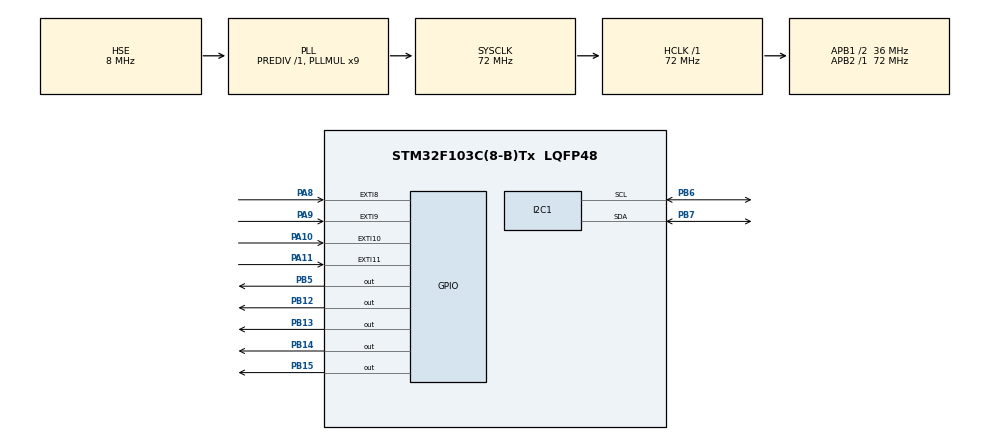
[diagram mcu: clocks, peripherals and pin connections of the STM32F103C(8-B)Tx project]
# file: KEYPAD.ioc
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Mcu.Family=STM32F1
Mcu.Name=STM32F103C(8-B)Tx
Mcu.Package=LQFP48
NVIC.EXTI15_10_IRQn=true\:0\:0\:false\:false\:true\:true\:true\:true
NVIC.EXTI9_5_IRQn=true\:0\:0\:false\:false\:true\:true\:true\:true
NVIC.PriorityGroup=NVIC_PRIORITYGROUP_4
PA10.Signal=GPXTI10
PA11.Signal=GPXTI11
PA13.Mode=Serial_Wire
PA13.Signal=SYS_JTMS-SWDIO
PA14.Mode=Serial_Wire
PA14.Signal=SYS_JTCK-SWCLK
PA8.Signal=GPXTI8
PA9.Signal=GPXTI9
PB12.Signal=GPIO_Output
PB13.Signal=GPIO_Output
PB14.Signal=GPIO_Output
PB15.Signal=GPIO_Output
PB5.GPIO_Speed=GPIO_SPEED_FREQ_HIGH
PB5.Signal=GPIO_Output
PB6.Mode=I2C
PB6.Signal=I2C1_SCL
PB7.Mode=I2C
PB7.Signal=I2C1_SDA
PD0-OSC_IN.Mode=HSE-External-Oscillator
PD0-OSC_IN.Signal=RCC_OSC_IN
PD1-OSC_OUT.Mode=HSE-External-Oscillator
PD1-OSC_OUT.Signal=RCC_OSC_OUT
ProjectManager.HeapSize=0x200
ProjectManager.StackSize=0x400
ProjectManager.TargetToolchain=STM32CubeIDE
RCC.AHBFreq_Value=72000000
RCC.APB1CLKDivider=RCC_HCLK_DIV2
RCC.APB1Freq_Value=36000000
RCC.APB1TimFreq_Value=72000000
RCC.APB2Freq_Value=72000000
RCC.APB2TimFreq_Value=72000000
RCC.HCLKFreq_Value=72000000
RCC.PLLMUL=RCC_PLL_MUL9
RCC.PLLSourceVirtual=RCC_PLLSOURCE_HSE
RCC.SYSCLKFreq_VALUE=72000000
RCC.SYSCLKSource=RCC_SYSCLKSOURCE_PLLCLK
RCC.USBFreq_Value=72000000
board=custom

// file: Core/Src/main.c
/* USER CODE BEGIN Header */
/**
  ******************************************************************************
  * @file           : main.c
  * @brief          : Main program body
  ******************************************************************************
  * @attention
  *
  * Copyright (c) 2024 STMicroelectronics.
  * All rights reserved.
  *
  * This software is licensed under terms that can be found in the LICENSE file
  * in the root directory of this software component.
  * If no LICENSE file comes with this software, it is provided AS-IS.
  *
  ******************************************************************************
  */
/* USER CODE END Header */
#include "main.h"

/* USER CODE BEGIN Includes */
#include "string.h"
#include "i2c-lcd.h"
#include "stdio.h"
/* USER CODE END Includes */

I2C_HandleTypeDef hi2c1;

/* USER CODE BEGIN PV */

GPIO_InitTypeDef GPIO_InitStructPrivate = {0};
uint32_t previousMillis = 0;
uint32_t currentMillis = 0;
uint8_t keyPressed = 0;
uint8_t attempt = 0;
char input[6] = "311724";
char initial_password[6] = "311724";
char Nutnhan;
/* USER CODE END PV */

void SystemClock_Config(void);
static void MX_GPIO_Init(void);
static void MX_I2C1_Init(void);

int main(void)
{

  /* MCU Configuration--------------------------------------------------------*/

  /* Reset of all peripherals, Initializes the Flash interface and the Systick. */
  HAL_Init();

  /* Configure the system clock */
  SystemClock_Config();

  /* Initialize all configured peripherals */
  MX_GPIO_Init();
  MX_I2C1_Init();
  /* USER CODE BEGIN 2 */
  lcd_init();

  HAL_GPIO_WritePin(GPIOB, GPIO_PIN_12, 1);
  HAL_GPIO_WritePin(GPIOB, GPIO_PIN_13, 1);
  HAL_GPIO_WritePin(GPIOB, GPIO_PIN_14, 1);
  HAL_GPIO_WritePin(GPIOB, GPIO_PIN_15, 1);
  if (strcmp(input, initial_password) == 0)

  		        {   lcd_put_cur(1, 0);
  	    	        lcd_send_string("******");

  		            HAL_Delay(1000);
  		            HAL_GPIO_WritePin(GPIOB, GPIO_PIN_5, 1 ); // Mở khóa cửa
  		            lcd_clear();
  		            lcd_put_cur(0, 0);
  		            lcd_send_string("MAT KHAU DUNG");
  		            HAL_Delay(1000);

  		            HAL_GPIO_WritePin(GPIOB, GPIO_PIN_5, 0 ); // Đóng khóa cửa
  		            attempt = 9;

  		        }

  /* USER CODE END 2 */

  /* Infinite loop */
  while (1)
  {

    /* USER CODE BEGIN 3 */

//	  {
//
//	          if (keyPressed != '\0') // Nếu có phím được nhấn
//	          {
//	        	  if (Nutnhan == '1')
//              {
//            	  HAL_GPIO_WritePin(GPIOB, GPIO_PIN_5, 1); //On
//            	  HAL_Delay(5000);
//            	  HAL_GPIO_WritePin(GPIOB, GPIO_PIN_5, 0); //Off
//
//
//              }
//	        	  Nutnhan = keyPressed ;
//	              char buffer[16];
//	              sprintf(buffer, "PHIM NHAN: %c", Nutnhan);
//
//	              lcd_clear();
//	              lcd_put_cur(0, 0);  // Đat con tro len dong 1
//	              lcd_send_string(buffer); // Hiển thị ký tự phím lên LCD
//	             // keyPressed = '\0'; // Reset giá trị keyPressed
//	          }
//
//	          HAL_Delay(500);
//	      }

  }
  /* USER CODE END 3 */
}

void SystemClock_Config(void)
{
  RCC_OscInitTypeDef RCC_OscInitStruct = {0};
  RCC_ClkInitTypeDef RCC_ClkInitStruct = {0};

  /** Initializes the RCC Oscillators according to the specified parameters
  * in the RCC_OscInitTypeDef structure.
  */
  RCC_OscInitStruct.OscillatorType = RCC_OSCILLATORTYPE_HSE;
  RCC_OscInitStruct.HSEState = RCC_HSE_ON;
  RCC_OscInitStruct.HSEPredivValue = RCC_HSE_PREDIV_DIV1;
  RCC_OscInitStruct.HSIState = RCC_HSI_ON;
  RCC_OscInitStruct.PLL.PLLState = RCC_PLL_ON;
  RCC_OscInitStruct.PLL.PLLSource = RCC_PLLSOURCE_HSE;
  RCC_OscInitStruct.PLL.PLLMUL = RCC_PLL_MUL9;
  if (HAL_RCC_OscConfig(&RCC_OscInitStruct) != HAL_OK)
  {
    Error_Handler();
  }

  /** Initializes the CPU, AHB and APB buses clocks
  */
  RCC_ClkInitStruct.ClockType = RCC_CLOCKTYPE_HCLK|RCC_CLOCKTYPE_SYSCLK
                              |RCC_CLOCKTYPE_PCLK1|RCC_CLOCKTYPE_PCLK2;
  RCC_ClkInitStruct.SYSCLKSource = RCC_SYSCLKSOURCE_PLLCLK;
  RCC_ClkInitStruct.AHBCLKDivider = RCC_SYSCLK_DIV1;
  RCC_ClkInitStruct.APB1CLKDivider = RCC_HCLK_DIV2;
  RCC_ClkInitStruct.APB2CLKDivider = RCC_HCLK_DIV1;

  if (HAL_RCC_ClockConfig(&RCC_ClkInitStruct, FLASH_LATENCY_2) != HAL_OK)
  {
    Error_Handler();
  }
}

static void MX_I2C1_Init(void)
{

  hi2c1.Instance = I2C1;
  hi2c1.Init.ClockSpeed = 100000;
  hi2c1.Init.DutyCycle = I2C_DUTYCYCLE_2;
  hi2c1.Init.OwnAddress1 = 0;
  hi2c1.Init.AddressingMode = I2C_ADDRESSINGMODE_7BIT;
  hi2c1.Init.DualAddressMode = I2C_DUALADDRESS_DISABLE;
  hi2c1.Init.OwnAddress2 = 0;
  hi2c1.Init.GeneralCallMode = I2C_GENERALCALL_DISABLE;
  hi2c1.Init.NoStretchMode = I2C_NOSTRETCH_DISABLE;
  if (HAL_I2C_Init(&hi2c1) != HAL_OK)
  {
    Error_Handler();
  }

}

static void MX_GPIO_Init(void)
{
  GPIO_InitTypeDef GPIO_InitStruct = {0};

  /* GPIO Ports Clock Enable */
  __HAL_RCC_GPIOD_CLK_ENABLE();
  __HAL_RCC_GPIOB_CLK_ENABLE();
  __HAL_RCC_GPIOA_CLK_ENABLE();

  /*Configure GPIO pin Output Level */
  HAL_GPIO_WritePin(GPIOB, GPIO_PIN_12|GPIO_PIN_13|GPIO_PIN_14|GPIO_PIN_15
                          |GPIO_PIN_5, GPIO_PIN_RESET);

  /*Configure GPIO pins : PB12 PB13 PB14 PB15 */
  GPIO_InitStruct.Pin = GPIO_PIN_12|GPIO_PIN_13|GPIO_PIN_14|GPIO_PIN_15;
  GPIO_InitStruct.Mode = GPIO_MODE_OUTPUT_PP;
  GPIO_InitStruct.Pull = GPIO_NOPULL;
  GPIO_InitStruct.Speed = GPIO_SPEED_FREQ_LOW;
  HAL_GPIO_Init(GPIOB, &GPIO_InitStruct);

  /*Configure GPIO pins : PA8 PA9 PA10 PA11 */
  GPIO_InitStruct.Pin = GPIO_PIN_8|GPIO_PIN_9|GPIO_PIN_10|GPIO_PIN_11;
  GPIO_InitStruct.Mode = GPIO_MODE_IT_RISING;
  GPIO_InitStruct.Pull = GPIO_NOPULL;
  HAL_GPIO_Init(GPIOA, &GPIO_InitStruct);

  /*Configure GPIO pin : PB5 */
  GPIO_InitStruct.Pin = GPIO_PIN_5;
  GPIO_InitStruct.Mode = GPIO_MODE_OUTPUT_PP;
  GPIO_InitStruct.Pull = GPIO_NOPULL;
  GPIO_InitStruct.Speed = GPIO_SPEED_FREQ_HIGH;
  HAL_GPIO_Init(GPIOB, &GPIO_InitStruct);

  /* EXTI interrupt init*/
  HAL_NVIC_SetPriority(EXTI9_5_IRQn, 0, 0);
  HAL_NVIC_EnableIRQ(EXTI9_5_IRQn);

  HAL_NVIC_SetPriority(EXTI15_10_IRQn, 0, 0);
  HAL_NVIC_EnableIRQ(EXTI15_10_IRQn);

}

/* USER CODE BEGIN 4 */
void HAL_GPIO_EXTI_Callback(uint16_t GPIO_Pin)
{
  currentMillis = HAL_GetTick();
  if (currentMillis - previousMillis > 10) {
    /*Configure GPIO pins : PA8 PA9 PA10 PA11 to GPIO_INPUT*/
    GPIO_InitStructPrivate.Pin = GPIO_PIN_8|GPIO_PIN_9|GPIO_PIN_10|GPIO_PIN_11;
    GPIO_InitStructPrivate.Mode = GPIO_MODE_INPUT;
    GPIO_InitStructPrivate.Pull = GPIO_NOPULL;
    GPIO_InitStructPrivate.Speed = GPIO_SPEED_FREQ_LOW;
    HAL_GPIO_Init(GPIOA, &GPIO_InitStructPrivate);

    HAL_GPIO_WritePin(GPIOB, GPIO_PIN_12, 1);
    HAL_GPIO_WritePin(GPIOB, GPIO_PIN_13, 0);
    HAL_GPIO_WritePin(GPIOB, GPIO_PIN_14, 0);
    HAL_GPIO_WritePin(GPIOB, GPIO_PIN_15, 0);
    if(GPIO_Pin == GPIO_PIN_8 && HAL_GPIO_ReadPin(GPIOA, GPIO_PIN_8))
    {
      keyPressed = 49; //ASCII value of 1
     //lcd_clear();  // Xoa man hinh LCD truoc khi hien thi UID moi
     // lcd_put_cur(0, 0);  // �?at con tro len dong 1
     // sprintf( "PHIM NHAN: %02d",keyPressed);
     //lcd_send_string("PHIM NHAN: ");

    }
    else if(GPIO_Pin == GPIO_PIN_9 && HAL_GPIO_ReadPin(GPIOA, GPIO_PIN_9))
    {
      keyPressed = 53; //ASCII value of 5
    }
    else if(GPIO_Pin == GPIO_PIN_10 && HAL_GPIO_ReadPin(GPIOA, GPIO_PIN_10))
    {
      keyPressed = 57; //ASCII value of 9
    }
    else if(GPIO_Pin == GPIO_PIN_11 && HAL_GPIO_ReadPin(GPIOA, GPIO_PIN_11))
    {
      keyPressed = 68; //ASCII value of D
    }

        HAL_GPIO_WritePin(GPIOB, GPIO_PIN_12, 0);
        HAL_GPIO_WritePin(GPIOB, GPIO_PIN_13, 1);
        HAL_GPIO_WritePin(GPIOB, GPIO_PIN_14, 0);
        HAL_GPIO_WritePin(GPIOB, GPIO_PIN_15, 0);
    if(GPIO_Pin == GPIO_PIN_8 && HAL_GPIO_ReadPin(GPIOA, GPIO_PIN_8))
    {
      keyPressed = 50; //ASCII value of 2
    }
    else if(GPIO_Pin == GPIO_PIN_9 && HAL_GPIO_ReadPin(GPIOA, GPIO_PIN_9))
    {
      keyPressed = 54; //ASCII value of 6
    }
    else if(GPIO_Pin == GPIO_PIN_10 && HAL_GPIO_ReadPin(GPIOA, GPIO_PIN_10))
    {
      keyPressed = 65; //ASCII value of A
    }
    else if(GPIO_Pin == GPIO_PIN_11 && HAL_GPIO_ReadPin(GPIOA, GPIO_PIN_11))
    {
      keyPressed = 69; //ASCII value of E
    }
        HAL_GPIO_WritePin(GPIOB, GPIO_PIN_12, 0);
        HAL_GPIO_WritePin(GPIOB, GPIO_PIN_13, 0);
        HAL_GPIO_WritePin(GPIOB, GPIO_PIN_14, 1);
        HAL_GPIO_WritePin(GPIOB, GPIO_PIN_15, 0);
    if(GPIO_Pin == GPIO_PIN_8 && HAL_GPIO_ReadPin(GPIOA, GPIO_PIN_8))
    {
      keyPressed = 51; //ASCII value of 3
    }
    else if(GPIO_Pin == GPIO_PIN_9 && HAL_GPIO_ReadPin(GPIOA, GPIO_PIN_9))
    {
      keyPressed = 55; //ASCII value of 7
    }
    else if(GPIO_Pin == GPIO_PIN_10 && HAL_GPIO_ReadPin(GPIOA, GPIO_PIN_10))
    {
      keyPressed = 66; //ASCII value of B
    }
    else if(GPIO_Pin == GPIO_PIN_11 && HAL_GPIO_ReadPin(GPIOA, GPIO_PIN_11))
    {
      keyPressed = 70; //ASCII value of F
    }

         HAL_GPIO_WritePin(GPIOB, GPIO_PIN_12, 0);
         HAL_GPIO_WritePin(GPIOB, GPIO_PIN_13, 0);
         HAL_GPIO_WritePin(GPIOB, GPIO_PIN_14, 0);
         HAL_GPIO_WritePin(GPIOB, GPIO_PIN_15, 1);
    if(GPIO_Pin == GPIO_PIN_8 && HAL_GPIO_ReadPin(GPIOA, GPIO_PIN_8))
    {
      keyPressed = 52; //ASCII value of 4
    }
    else if(GPIO_Pin == GPIO_PIN_9 && HAL_GPIO_ReadPin(GPIOA, GPIO_PIN_9))
    {
      keyPressed = 56; //ASCII value of 8
    }
    else if(GPIO_Pin == GPIO_PIN_10 && HAL_GPIO_ReadPin(GPIOA, GPIO_PIN_10))
    {
      keyPressed = 67; //ASCII value of C
    }
    else if(GPIO_Pin == GPIO_PIN_11 && HAL_GPIO_ReadPin(GPIOA, GPIO_PIN_11))
    {
      keyPressed = 71; //ASCII value of G
    }

    HAL_GPIO_WritePin(GPIOB, GPIO_PIN_12, 1);
    HAL_GPIO_WritePin(GPIOB, GPIO_PIN_13, 1);
    HAL_GPIO_WritePin(GPIOB, GPIO_PIN_14, 1);
    HAL_GPIO_WritePin(GPIOB, GPIO_PIN_15, 1);
    /*Configure GPIO pins : PA8 PA9 PA10 PA11 back to EXTI*/
    GPIO_InitStructPrivate.Mode = GPIO_MODE_IT_RISING;
    GPIO_InitStructPrivate.Pull = GPIO_PULLDOWN;
    HAL_GPIO_Init(GPIOA, &GPIO_InitStructPrivate);
    previousMillis = currentMillis;

  }
}
/* USER CODE END 4 */

void Error_Handler(void)
{
  __disable_irq();
  while (1)
  {
  }
}
